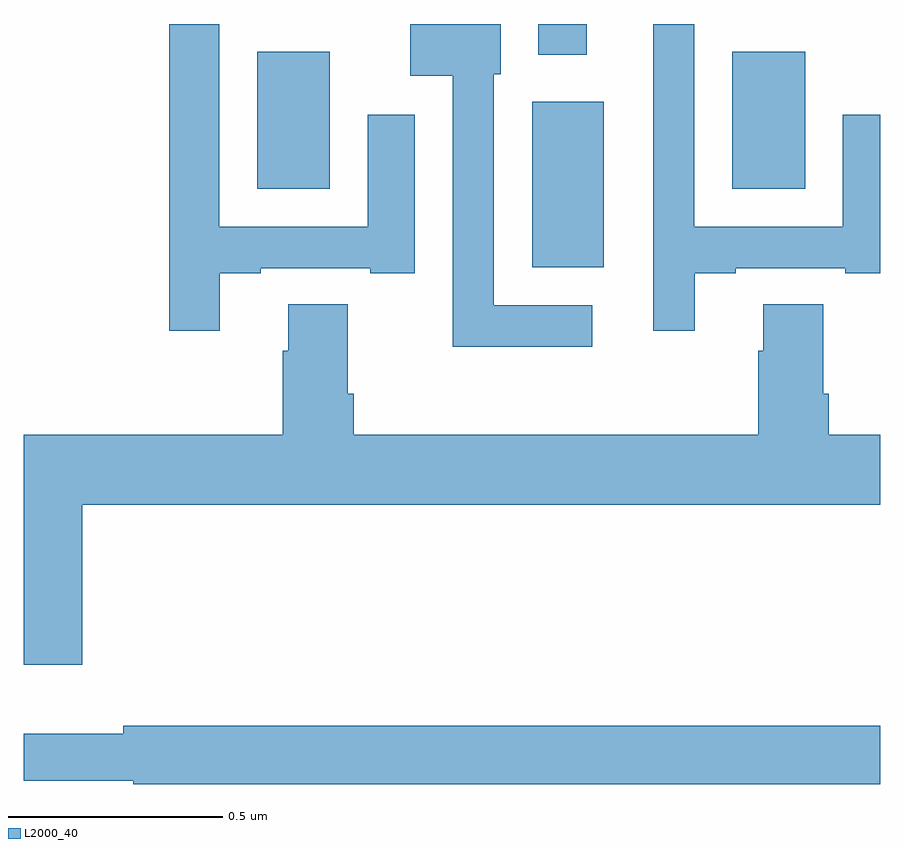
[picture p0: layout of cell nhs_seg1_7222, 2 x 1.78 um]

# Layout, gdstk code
import gdstk
lib = gdstk.Library(unit=1e-6, precision=1e-09)
def R(c, l, rs):  # rectangles x0, y0, x1, y1
    for r in rs: c.add(gdstk.rectangle(r[:2], r[2:], *l))
def P(c, l, *ps):  # polygons
    for p in ps: c.add(gdstk.Polygon(p, *l))
L2000_40 = (2000, 40)

nhs_seg1_7222 = lib.new_cell('nhs_seg1_7222')
R(nhs_seg1_7222, L2000_40, [(202.187,541.631,202.354,542.017), (201.545,541.814,201.715,542.134), (202.655,541.814,202.825,542.134), (202.202,542.127,202.315,542.199)])
P(nhs_seg1_7222, L2000_40, [(201.457,541.617),(201.553,541.617),(201.553,541.629),(201.809,541.629),(201.809,541.617),(201.913,541.617),(201.913,541.987),(201.803,541.987),(201.803,541.725),(201.456,541.725),(201.456,542.199),(201.34,542.199),(201.34,541.482),(201.457,541.482)],
  [(202.567,541.617),(202.663,541.617),(202.663,541.629),(202.919,541.629),(202.919,541.617),(203,541.617),(203,541.987),(202.913,541.987),(202.913,541.725),(202.566,541.725),(202.566,542.199),(202.47,542.199),(202.47,541.482),(202.567,541.482)],
  [(202.327,541.542),(202.098,541.542),(202.098,542.082),(202.114,542.082),(202.114,542.199),(201.902,542.199),(201.902,542.078),(202.002,542.078),(202.002,541.445),(202.327,541.445)],
  [(201.136,541.076),(203,541.076),(203,541.24),(202.88,541.24),(202.88,541.336),(202.867,541.336),(202.867,541.544),(202.727,541.544),(202.727,541.436),(202.715,541.436),(202.715,541.24),(201.77,541.24),(201.77,541.336),(201.757,541.336),(201.757,541.544),(201.617,541.544),(201.617,541.436),(201.605,541.436),(201.605,541.24),(201,541.24),(201,540.702),(201.136,540.702)],
  [(203,540.56),(201.232,540.56),(201.232,540.541),(201,540.541),(201,540.432),(201.255,540.432),(201.255,540.424),(203,540.424)])

lib.write_gds('nhs_seg1_7222.gds')
